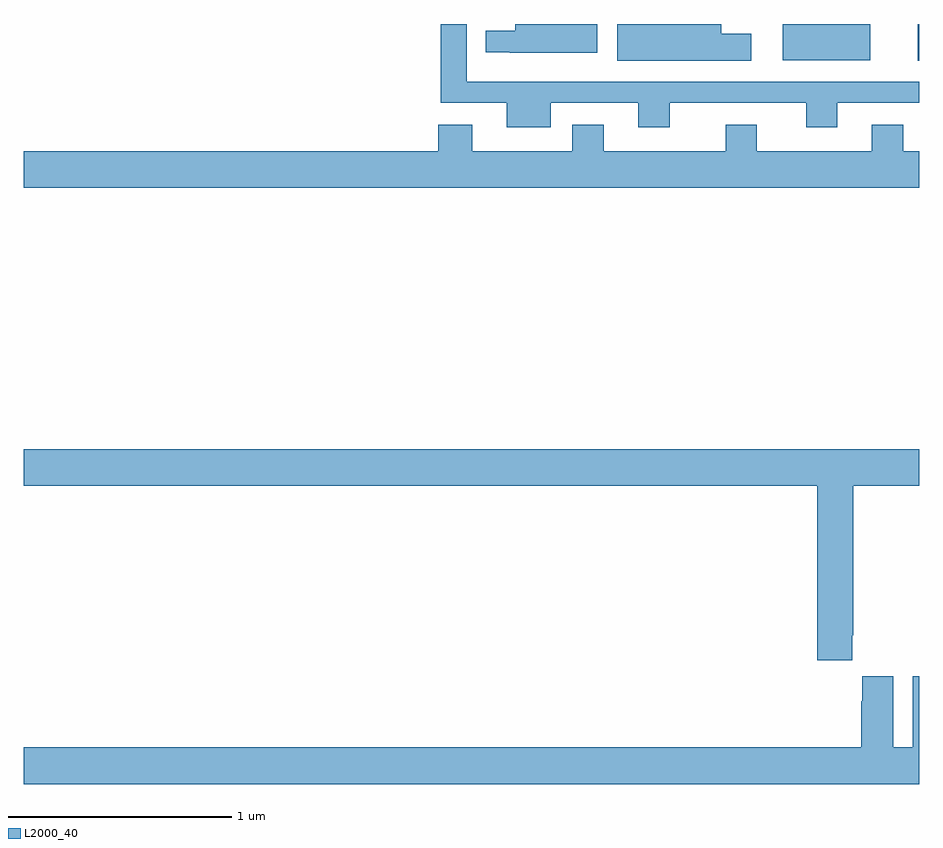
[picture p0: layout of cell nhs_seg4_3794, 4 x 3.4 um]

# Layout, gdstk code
import gdstk
lib = gdstk.Library(unit=1e-6, precision=1e-09)
def R(c, l, rs):  # rectangles x0, y0, x1, y1
    for r in rs: c.add(gdstk.rectangle(r[:2], r[2:], *l))
def P(c, l, *ps):  # polygons
    for p in ps: c.add(gdstk.Polygon(p, *l))
L2000_40 = (2000, 40)

nhs_seg4_3794 = lib.new_cell('nhs_seg4_3794')
R(nhs_seg4_3794, L2000_40, [(314.993,782.735,315,782.9), (314.39,782.738,314.782,782.9)])
P(nhs_seg4_3794, L2000_40, [(313.561,782.9),(313.196,782.9),(313.196,782.87),(313.063,782.87),(313.063,782.773),(313.171,782.773),(313.171,782.771),(313.561,782.771)],
  [(314.251,782.857),(314.116,782.857),(314.116,782.9),(313.652,782.9),(313.652,782.735),(314.251,782.735)],
  [(313.354,782.547),(313.745,782.547),(313.745,782.438),(313.885,782.438),(313.885,782.547),(314.495,782.547),(314.495,782.438),(314.635,782.438),(314.635,782.547),(315,782.547),(315,782.643),(312.978,782.643),(312.978,782.9),(312.862,782.9),(312.862,782.547),(313.157,782.547),(313.157,782.438),(313.354,782.438)],
  [(315,782.332),(314.929,782.332),(314.929,782.449),(314.789,782.449),(314.789,782.332),(314.275,782.332),(314.275,782.449),(314.135,782.449),(314.135,782.332),(313.591,782.332),(313.591,782.449),(313.451,782.449),(313.451,782.332),(313.003,782.332),(313.003,782.449),(312.851,782.449),(312.851,782.332),(311,782.332),(311,782.168),(315,782.168)],
  [(314.701,780.169),(314.706,780.169),(314.706,780.836),(315,780.836),(315,781),(311,781),(311,780.836),(314.546,780.836),(314.546,780.057),(314.701,780.057)],
  [(315,779.986),(314.972,779.986),(314.972,779.668),(314.884,779.668),(314.884,779.986),(314.747,779.986),(314.747,779.873),(314.741,779.873),(314.741,779.668),(311,779.668),(311,779.504),(315,779.504)])

lib.write_gds('nhs_seg4_3794.gds')
